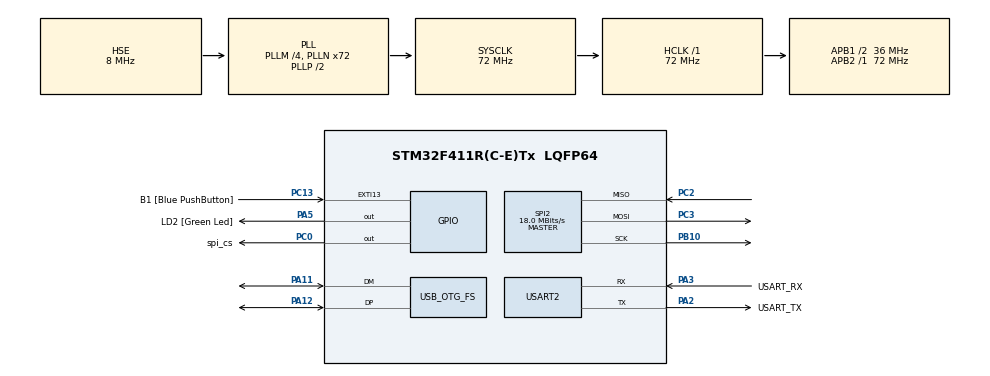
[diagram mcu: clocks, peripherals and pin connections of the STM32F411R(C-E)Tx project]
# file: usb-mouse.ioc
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Mcu.Family=STM32F4
Mcu.Name=STM32F411R(C-E)Tx
Mcu.Package=LQFP64
NVIC.OTG_FS_IRQn=true\:0\:0\:false\:false\:true\:false\:true\:true
NVIC.PriorityGroup=NVIC_PRIORITYGROUP_0
PA11.Mode=Device_Only
PA11.Signal=USB_OTG_FS_DM
PA12.Mode=Device_Only
PA12.Signal=USB_OTG_FS_DP
PA13.GPIO_Label=TMS
PA13.Mode=Serial_Wire
PA13.Signal=SYS_JTMS-SWDIO
PA14.GPIO_Label=TCK
PA14.Mode=Serial_Wire
PA14.Signal=SYS_JTCK-SWCLK
PA2.GPIO_Label=USART_TX
PA2.Mode=Asynchronous
PA2.Signal=USART2_TX
PA3.GPIO_Label=USART_RX
PA3.Mode=Asynchronous
PA3.Signal=USART2_RX
PA5.GPIO_Label=LD2 [Green Led]
PA5.Signal=GPIO_Output
PB10.Mode=Full_Duplex_Master
PB10.Signal=SPI2_SCK
PB3.GPIO_Label=SWO
PB3.Signal=SYS_JTDO-SWO
PC0.GPIO_Label=spi_cs
PC0.GPIO_PuPd=GPIO_NOPULL
PC0.PinState=GPIO_PIN_SET
PC0.Signal=GPIO_Output
PC13-ANTI_TAMP.GPIO_Label=B1 [Blue PushButton]
PC13-ANTI_TAMP.GPIO_ModeDefaultEXTI=GPIO_MODE_IT_FALLING
PC13-ANTI_TAMP.Signal=GPXTI13
PC14-OSC32_IN.Mode=LSE-External-Oscillator
PC14-OSC32_IN.Signal=RCC_OSC32_IN
PC15-OSC32_OUT.Mode=LSE-External-Oscillator
PC15-OSC32_OUT.Signal=RCC_OSC32_OUT
PC2.Mode=Full_Duplex_Master
PC2.Signal=SPI2_MISO
PC3.Mode=Full_Duplex_Master
PC3.Signal=SPI2_MOSI
PH0\ -\ OSC_IN.Mode=HSE-External-Clock-Source
PH0\ -\ OSC_IN.Signal=RCC_OSC_IN
PH1\ -\ OSC_OUT.Mode=HSE-External-Clock-Source
PH1\ -\ OSC_OUT.Signal=RCC_OSC_OUT
ProjectManager.HeapSize=0x200
ProjectManager.StackSize=0x400
ProjectManager.TargetToolchain=STM32CubeIDE
RCC.48MHZClocksFreq_Value=48000000
RCC.AHBFreq_Value=72000000
RCC.APB1CLKDivider=RCC_HCLK_DIV2
RCC.APB1Freq_Value=36000000
RCC.APB1TimFreq_Value=72000000
RCC.APB2Freq_Value=72000000
RCC.APB2TimFreq_Value=72000000
RCC.CortexFreq_Value=72000000
RCC.FLatency-AdvancedSettings=FLASH_LATENCY_2
RCC.HCLKFreq_Value=72000000
RCC.HSE_VALUE=8000000
RCC.HSI_VALUE=16000000
RCC.PLLM=4
RCC.PLLN=72
RCC.PLLQ=3
RCC.SYSCLKFreq_VALUE=72000000
RCC.SYSCLKSource=RCC_SYSCLKSOURCE_PLLCLK
RCC.VCOOutputFreq_Value=144000000
SPI2.CLKPhase=SPI_PHASE_2EDGE
SPI2.CLKPolarity=SPI_POLARITY_HIGH
SPI2.CalculateBaudRate=18.0 MBits/s
SPI2.Direction=SPI_DIRECTION_2LINES
SPI2.Mode=SPI_MODE_MASTER
SPI2.VirtualType=VM_MASTER
TIM3.CounterMode=TIM_COUNTERMODE_UP
TIM3.Prescaler=71
USART2.VirtualMode=VM_ASYNC
USB_DEVICE.CLASS_NAME_FS=HID
USB_DEVICE.VirtualMode=Hid
USB_DEVICE.VirtualModeFS=Hid_FS
USB_OTG_FS.VirtualMode=Device_Only
VP_TIM3_VS_ClockSourceINT.Mode=Internal
VP_USB_DEVICE_VS_USB_DEVICE_HID_FS.Mode=HID_FS
board=NUCLEO-F411RE

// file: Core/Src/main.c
/* USER CODE BEGIN Header */
/**
  ******************************************************************************
  * @file           : main.c
  * @brief          : Main program body
  ******************************************************************************
  * @attention
  *
  * Copyright (c) 2026 STMicroelectronics.
  * All rights reserved.
  *
  * This software is licensed under terms that can be found in the LICENSE file
  * in the root directory of this software component.
  * If no LICENSE file comes with this software, it is provided AS-IS.
  *
  ******************************************************************************
  */
/* USER CODE END Header */
#include "main.h"
#include "usb_device.h"
#include "stm32f4xx_hal.h"
#include "PMW3389_driver.h"

SPI_HandleTypeDef hspi2;

TIM_HandleTypeDef htim3;

UART_HandleTypeDef huart2;

void SystemClock_Config(void);
static void MX_GPIO_Init(void);
static void MX_SPI2_Init(void);
static void MX_USART2_UART_Init(void);
static void MX_TIM3_Init(void);

int main(void)
{

  /* MCU Configuration--------------------------------------------------------*/

  /* Reset of all peripherals, Initializes the Flash interface and the Systick. */
  HAL_Init();

  /* Configure the system clock */
  SystemClock_Config();

  /* Initialize all configured peripherals */
  MX_GPIO_Init();
  MX_SPI2_Init();
  MX_USART2_UART_Init();
  MX_USB_DEVICE_Init();
  MX_TIM3_Init();
  /* USER CODE BEGIN 2 */
  pmw3389_init(&hspi2, spi_cs_GPIO_Port, &htim3, spi_cs_Pin);

  /* USER CODE END 2 */

  /* Infinite loop */
  while (1)
  {

    /* USER CODE BEGIN 3 */
	  uint8_t productID, inverse_id;

	  char uart_buffer[128];

	  HAL_StatusTypeDef status = HAL_ERROR;
	  if ((status = pmw3389_read_register(0x00, &productID)) != HAL_OK) goto done_label;
	  if ((status = pmw3389_read_register(0x3F, &inverse_id)) != HAL_OK) goto done_label;
	  done_label:
	  if (status == HAL_OK)
	  {
		  int len = snprintf(
				  uart_buffer,
				  sizeof(uart_buffer),
				  "PID: 0x%02X\r\n"
				  "Inverse ID: 0x%02X\r\n",
				  productID,
				  inverse_id
				  );

		  if (len > 0 && len < sizeof(uart_buffer))
		  {
			  HAL_UART_Transmit(
					  &huart2,
					  (uint8_t*)uart_buffer,
					  (uint16_t)len,
					  100);
		  }
	  } else
	  {
		  const char* msg = "SPI read failed\r\n";
			HAL_UART_Transmit(&huart2,
					(uint8_t*)msg,
					strlen(msg),
					100);
	  }

	  HAL_Delay(100);
  }
  /* USER CODE END 3 */
}

void SystemClock_Config(void)
{
  RCC_OscInitTypeDef RCC_OscInitStruct = {0};
  RCC_ClkInitTypeDef RCC_ClkInitStruct = {0};

  /** Configure the main internal regulator output voltage
  */
  __HAL_RCC_PWR_CLK_ENABLE();
  __HAL_PWR_VOLTAGESCALING_CONFIG(PWR_REGULATOR_VOLTAGE_SCALE1);

  /** Initializes the RCC Oscillators according to the specified parameters
  * in the RCC_OscInitTypeDef structure.
  */
  RCC_OscInitStruct.OscillatorType = RCC_OSCILLATORTYPE_HSE;
  RCC_OscInitStruct.HSEState = RCC_HSE_BYPASS;
  RCC_OscInitStruct.PLL.PLLState = RCC_PLL_ON;
  RCC_OscInitStruct.PLL.PLLSource = RCC_PLLSOURCE_HSE;
  RCC_OscInitStruct.PLL.PLLM = 4;
  RCC_OscInitStruct.PLL.PLLN = 72;
  RCC_OscInitStruct.PLL.PLLP = RCC_PLLP_DIV2;
  RCC_OscInitStruct.PLL.PLLQ = 3;
  if (HAL_RCC_OscConfig(&RCC_OscInitStruct) != HAL_OK)
  {
    Error_Handler();
  }

  /** Initializes the CPU, AHB and APB buses clocks
  */
  RCC_ClkInitStruct.ClockType = RCC_CLOCKTYPE_HCLK|RCC_CLOCKTYPE_SYSCLK
                              |RCC_CLOCKTYPE_PCLK1|RCC_CLOCKTYPE_PCLK2;
  RCC_ClkInitStruct.SYSCLKSource = RCC_SYSCLKSOURCE_PLLCLK;
  RCC_ClkInitStruct.AHBCLKDivider = RCC_SYSCLK_DIV1;
  RCC_ClkInitStruct.APB1CLKDivider = RCC_HCLK_DIV2;
  RCC_ClkInitStruct.APB2CLKDivider = RCC_HCLK_DIV1;

  if (HAL_RCC_ClockConfig(&RCC_ClkInitStruct, FLASH_LATENCY_2) != HAL_OK)
  {
    Error_Handler();
  }
}

static void MX_SPI2_Init(void)
{

  /* SPI2 parameter configuration*/
  hspi2.Instance = SPI2;
  hspi2.Init.Mode = SPI_MODE_MASTER;
  hspi2.Init.Direction = SPI_DIRECTION_2LINES;
  hspi2.Init.DataSize = SPI_DATASIZE_8BIT;
  hspi2.Init.CLKPolarity = SPI_POLARITY_HIGH;
  hspi2.Init.CLKPhase = SPI_PHASE_2EDGE;
  hspi2.Init.NSS = SPI_NSS_SOFT;
  hspi2.Init.BaudRatePrescaler = SPI_BAUDRATEPRESCALER_16;
  hspi2.Init.FirstBit = SPI_FIRSTBIT_MSB;
  hspi2.Init.TIMode = SPI_TIMODE_DISABLE;
  hspi2.Init.CRCCalculation = SPI_CRCCALCULATION_DISABLE;
  hspi2.Init.CRCPolynomial = 10;
  if (HAL_SPI_Init(&hspi2) != HAL_OK)
  {
    Error_Handler();
  }

}

static void MX_TIM3_Init(void)
{

  TIM_ClockConfigTypeDef sClockSourceConfig = {0};
  TIM_MasterConfigTypeDef sMasterConfig = {0};

  htim3.Instance = TIM3;
  htim3.Init.Prescaler = 71;
  htim3.Init.CounterMode = TIM_COUNTERMODE_UP;
  htim3.Init.Period = 65535;
  htim3.Init.ClockDivision = TIM_CLOCKDIVISION_DIV1;
  htim3.Init.AutoReloadPreload = TIM_AUTORELOAD_PRELOAD_DISABLE;
  if (HAL_TIM_Base_Init(&htim3) != HAL_OK)
  {
    Error_Handler();
  }
  sClockSourceConfig.ClockSource = TIM_CLOCKSOURCE_INTERNAL;
  if (HAL_TIM_ConfigClockSource(&htim3, &sClockSourceConfig) != HAL_OK)
  {
    Error_Handler();
  }
  sMasterConfig.MasterOutputTrigger = TIM_TRGO_RESET;
  sMasterConfig.MasterSlaveMode = TIM_MASTERSLAVEMODE_DISABLE;
  if (HAL_TIMEx_MasterConfigSynchronization(&htim3, &sMasterConfig) != HAL_OK)
  {
    Error_Handler();
  }

}

static void MX_USART2_UART_Init(void)
{

  huart2.Instance = USART2;
  huart2.Init.BaudRate = 115200;
  huart2.Init.WordLength = UART_WORDLENGTH_8B;
  huart2.Init.StopBits = UART_STOPBITS_1;
  huart2.Init.Parity = UART_PARITY_NONE;
  huart2.Init.Mode = UART_MODE_TX_RX;
  huart2.Init.HwFlowCtl = UART_HWCONTROL_NONE;
  huart2.Init.OverSampling = UART_OVERSAMPLING_16;
  if (HAL_UART_Init(&huart2) != HAL_OK)
  {
    Error_Handler();
  }

}

static void MX_GPIO_Init(void)
{
  GPIO_InitTypeDef GPIO_InitStruct = {0};

  /* GPIO Ports Clock Enable */
  __HAL_RCC_GPIOC_CLK_ENABLE();
  __HAL_RCC_GPIOH_CLK_ENABLE();
  __HAL_RCC_GPIOA_CLK_ENABLE();
  __HAL_RCC_GPIOB_CLK_ENABLE();

  /*Configure GPIO pin Output Level */
  HAL_GPIO_WritePin(spi_cs_GPIO_Port, spi_cs_Pin, GPIO_PIN_SET);

  /*Configure GPIO pin Output Level */
  HAL_GPIO_WritePin(LD2_GPIO_Port, LD2_Pin, GPIO_PIN_RESET);

  /*Configure GPIO pin : B1_Pin */
  GPIO_InitStruct.Pin = B1_Pin;
  GPIO_InitStruct.Mode = GPIO_MODE_IT_FALLING;
  GPIO_InitStruct.Pull = GPIO_NOPULL;
  HAL_GPIO_Init(B1_GPIO_Port, &GPIO_InitStruct);

  /*Configure GPIO pin : spi_cs_Pin */
  GPIO_InitStruct.Pin = spi_cs_Pin;
  GPIO_InitStruct.Mode = GPIO_MODE_OUTPUT_PP;
  GPIO_InitStruct.Pull = GPIO_NOPULL;
  GPIO_InitStruct.Speed = GPIO_SPEED_FREQ_LOW;
  HAL_GPIO_Init(spi_cs_GPIO_Port, &GPIO_InitStruct);

  /*Configure GPIO pin : LD2_Pin */
  GPIO_InitStruct.Pin = LD2_Pin;
  GPIO_InitStruct.Mode = GPIO_MODE_OUTPUT_PP;
  GPIO_InitStruct.Pull = GPIO_NOPULL;
  GPIO_InitStruct.Speed = GPIO_SPEED_FREQ_LOW;
  HAL_GPIO_Init(LD2_GPIO_Port, &GPIO_InitStruct);

}

void Error_Handler(void)
{
  __disable_irq();
  while (1)
  {
  }
}
